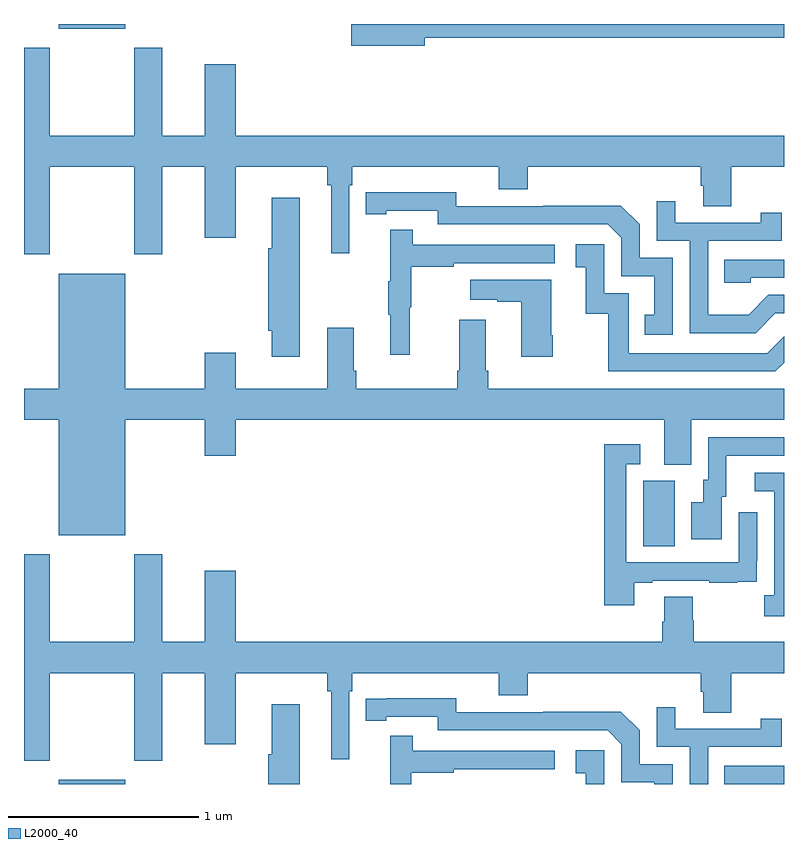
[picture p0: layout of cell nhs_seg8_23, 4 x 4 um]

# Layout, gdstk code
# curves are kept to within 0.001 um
import gdstk
lib = gdstk.Library(unit=1e-6, precision=1e-09)
def R(c, l, rs):  # rectangles x0, y0, x1, y1
    for r in rs: c.add(gdstk.rectangle(r[:2], r[2:], *l))
def P(c, l, *ps):  # polygons
    for p in ps: c.add(gdstk.Polygon(p, *l))
L2000_40 = (2000, 40)

nhs_seg8_23 = lib.new_cell('nhs_seg8_23')
R(nhs_seg8_23, L2000_40, [(111.182,1131.9,111.532,1131.922), (114.685,1131.9,115,1131.996), (114.26,1133.152,114.424,1133.496), (111.182,1135.874,111.532,1135.9)])
P(nhs_seg8_23, L2000_40, [(113.11,1135.828),(115,1135.828),(115,1135.9),(112.722,1135.9),(112.722,1135.786),(113.11,1135.786)],
  [(111.135,1135.148),(111.58,1135.148),(111.58,1134.687),(111.727,1134.687),(111.727,1135.148),(111.95,1135.148),(111.95,1134.774),(112.114,1134.774),(112.114,1135.148),(112.597,1135.148),(112.597,1135.052),(112.616,1135.052),(112.616,1134.693),(112.713,1134.693),(112.713,1135.052),(112.727,1135.052),(112.727,1135.148),(113.498,1135.148),(113.498,1135.031),(113.651,1135.031),(113.651,1135.148),(114.563,1135.148),(114.563,1135.05),(114.575,1135.05),(114.575,1134.94),(114.723,1134.94),(114.723,1135.148),(115,1135.148),(115,1135.312),(112.114,1135.312),(112.114,1135.687),(111.95,1135.687),(111.95,1135.312),(111.727,1135.312),(111.727,1135.774),(111.58,1135.774),(111.58,1135.312),(111.135,1135.312),(111.135,1135.774),(111,1135.774),(111,1134.687),(111.135,1134.687)],
  [(114.414,1134.669),(114.24,1134.669),(114.24,1134.846),(114.142,1134.944),(113.734,1134.944),(113.734,1134.942),(113.274,1134.942),(113.274,1135.015),(112.798,1135.014),(112.798,1134.898),(112.906,1134.898),(112.906,1134.918),(113.178,1134.918),(113.178,1134.846),(114.072,1134.846),(114.144,1134.774),(114.144,1134.573),(114.317,1134.573),(114.317,1134.369),(114.268,1134.369),(114.268,1134.264),(114.414,1134.264)],
  [(112.45,1134.985),(112.304,1134.985),(112.304,1134.721),(112.286,1134.721),(112.286,1134.285),(112.304,1134.285),(112.304,1134.15),(112.45,1134.15)],
  [(114.955,1134.378),(115,1134.378),(115,1134.474),(114.918,1134.474),(114.814,1134.37),(114.6,1134.37),(114.6,1134.759),(114.989,1134.759),(114.989,1134.907),(114.878,1134.907),(114.878,1134.855),(114.427,1134.855),(114.427,1134.967),(114.33,1134.967),(114.33,1134.759),(114.504,1134.759),(114.504,1134.273),(114.85,1134.273)],
  [(113.03,1134.408),(113.038,1134.408),(113.038,1134.622),(113.261,1134.622),(113.261,1134.642),(113.794,1134.642),(113.794,1134.738),(113.045,1134.738),(113.045,1134.817),(112.928,1134.817),(112.928,1134.545),(112.917,1134.545),(112.917,1134.371),(112.928,1134.371),(112.928,1134.159),(113.03,1134.159)],
  [(115,1134.118),(115,1134.256),(114.912,1134.168),(114.183,1134.168),(114.183,1134.483),(114.054,1134.483),(114.054,1134.742),(113.904,1134.742),(113.904,1134.621),(113.957,1134.621),(113.957,1134.375),(114.075,1134.375),(114.075,1134.072),(114.954,1134.072)],
  [(114.825,1134.564),(115,1134.564),(115,1134.66),(114.685,1134.66),(114.685,1134.537),(114.825,1134.537)],
  [(111.532,1133.816),(111.95,1133.816),(111.95,1133.628),(112.114,1133.628),(112.114,1133.816),(114.371,1133.816),(114.371,1133.581),(114.511,1133.581),(114.511,1133.816),(115,1133.816),(115,1133.98),(113.444,1133.98),(113.444,1134.076),(113.431,1134.076),(113.431,1134.343),(113.291,1134.343),(113.291,1134.076),(113.279,1134.076),(113.279,1133.98),(112.748,1133.98),(112.748,1134.076),(112.735,1134.076),(112.735,1134.301),(112.595,1134.301),(112.595,1133.98),(112.114,1133.98),(112.114,1134.169),(111.95,1134.169),(111.95,1133.98),(111.532,1133.98),(111.532,1134.586),(111.182,1134.586),(111.182,1133.98),(111,1133.98),(111,1133.816),(111.182,1133.816),(111.182,1133.21),(111.532,1133.21)],
  [(113.784,1134.262),(113.776,1134.262),(113.776,1134.553),(113.349,1134.553),(113.349,1134.449),(113.492,1134.449),(113.492,1134.439),(113.618,1134.439),(113.618,1134.15),(113.784,1134.15)],
  [(114.673,1133.412),(114.697,1133.412),(114.697,1133.628),(115,1133.628),(115,1133.724),(114.6,1133.724),(114.6,1133.502),(114.575,1133.502),(114.575,1133.383),(114.512,1133.383),(114.512,1133.187),(114.673,1133.187)],
  [(114.211,1132.959),(114.307,1132.959),(114.307,1132.971),(114.607,1132.971),(114.607,1132.959),(114.755,1132.959),(114.755,1132.965),(114.857,1132.965),(114.857,1133.074),(114.858,1133.074),(114.858,1133.329),(114.762,1133.329),(114.762,1133.067),(114.171,1133.067),(114.171,1133.583),(114.244,1133.583),(114.244,1133.689),(114.055,1133.689),(114.055,1132.842),(114.211,1132.842)],
  [(115,1133.538),(114.846,1133.538),(114.846,1133.442),(114.948,1133.442),(114.948,1132.894),(114.897,1132.894),(114.897,1132.784),(115,1132.784)],
  [(111.135,1132.484),(111.58,1132.484),(111.58,1132.023),(111.727,1132.023),(111.727,1132.484),(111.95,1132.484),(111.95,1132.11),(112.114,1132.11),(112.114,1132.484),(112.597,1132.484),(112.597,1132.388),(112.616,1132.388),(112.616,1132.029),(112.713,1132.029),(112.713,1132.388),(112.727,1132.388),(112.727,1132.484),(113.498,1132.484),(113.498,1132.367),(113.651,1132.367),(113.651,1132.484),(114.563,1132.484),(114.563,1132.386),(114.575,1132.386),(114.575,1132.276),(114.723,1132.276),(114.723,1132.484),(115,1132.484),(115,1132.648),(114.524,1132.648),(114.524,1132.761),(114.519,1132.761),(114.519,1132.886),(114.371,1132.886),(114.371,1132.754),(114.359,1132.754),(114.359,1132.648),(112.114,1132.648),(112.114,1133.023),(111.95,1133.023),(111.95,1132.648),(111.727,1132.648),(111.727,1133.11),(111.58,1133.11),(111.58,1132.648),(111.135,1132.648),(111.135,1133.11),(111,1133.11),(111,1132.023),(111.135,1132.023)],
  [(114.414,1132.005),(114.24,1132.005),(114.24,1132.182),(114.142,1132.28),(113.734,1132.28),(113.734,1132.278),(113.274,1132.278),(113.274,1132.351),(112.798,1132.35),(112.798,1132.234),(112.906,1132.234),(112.906,1132.254),(113.178,1132.254),(113.178,1132.182),(114.072,1132.182),(114.144,1132.11),(114.144,1131.909),(114.317,1131.909),(114.317,1131.9),(114.414,1131.9)],
  [(112.45,1132.321),(112.304,1132.321),(112.304,1132.057),(112.286,1132.057),(112.286,1131.9),(112.45,1131.9)],
  [(114.6,1132.095),(114.989,1132.095),(114.989,1132.243),(114.878,1132.243),(114.878,1132.191),(114.427,1132.191),(114.427,1132.303),(114.33,1132.303),(114.33,1132.095),(114.504,1132.095),(114.504,1131.9),(114.6,1131.9)],
  [(113.038,1131.958),(113.261,1131.958),(113.261,1131.978),(113.794,1131.978),(113.794,1132.074),(113.045,1132.074),(113.045,1132.153),(112.928,1132.153),(112.928,1131.9),(113.038,1131.9)],
  [(114.054,1132.078),(113.904,1132.078),(113.904,1131.957),(113.957,1131.957),(113.957,1131.9),(114.054,1131.9)])

lib.write_gds('nhs_seg8_23.gds')
